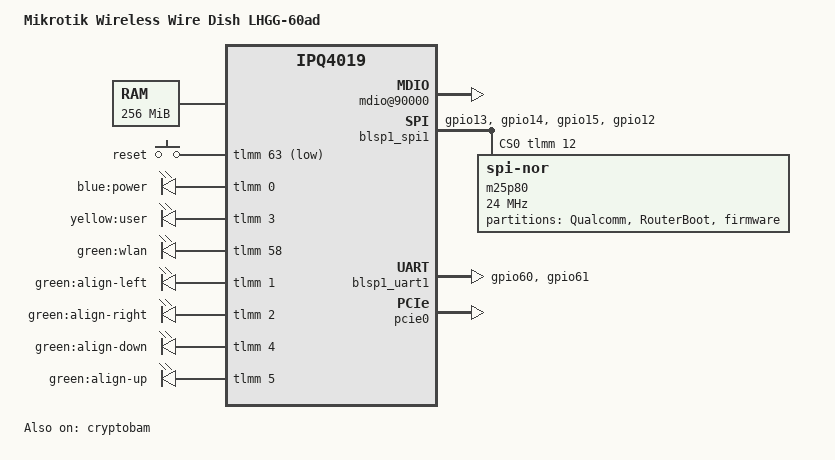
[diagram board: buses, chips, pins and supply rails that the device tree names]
/* Copyright (c) 2015, The Linux Foundation. All rights reserved.
 * Copyright (c) 2019, Robert Marko <robimarko@gmail.com>
 *
 * Permission to use, copy, modify, and/or distribute this software for any
 * purpose with or without fee is hereby granted, provided that the above
 * copyright notice and this permission notice appear in all copies.
 *
 * THE SOFTWARE IS PROVIDED "AS IS" AND THE AUTHOR DISCLAIMS ALL WARRANTIES
 * WITH REGARD TO THIS SOFTWARE INCLUDING ALL IMPLIED WARRANTIES OF
 * MERCHANTABILITY AND FITNESS. IN NO EVENT SHALL THE AUTHOR BE LIABLE FOR
 * ANY SPECIAL, DIRECT, INDIRECT, OR CONSEQUENTIAL DAMAGES OR ANY DAMAGES
 * WHATSOEVER RESULTING FROM LOSS OF USE, DATA OR PROFITS, WHETHER IN AN
 * ACTION OF CONTRACT, NEGLIGENCE OR OTHER TORTIOUS ACTION, ARISING OUT OF
 * OR IN CONNECTION WITH THE USE OR PERFORMANCE OF THIS SOFTWARE.
 *
 */

#include "qcom-ipq4019.dtsi"
#include <dt-bindings/gpio/gpio.h>
#include <dt-bindings/input/input.h>
#include <dt-bindings/soc/qcom,tcsr.h>

/ {
	model = "Mikrotik Wireless Wire Dish LHGG-60ad";
	compatible = "mikrotik,lhgg-60ad";

	memory {
		device_type = "memory";
		reg = <0x80000000 0x10000000>;
	};

	chosen {
		stdout-path = "serial0:115200n8";
	};

	aliases {
		led-boot = &user;
		led-failsafe = &user;
		led-running = &user;
		led-upgrade = &user;
	};

	soc {
		rng@22000 {
			status = "okay";
		};

		mdio@90000 {
			status = "okay";

			/delete-node/ ethernet-phy@1;
			/delete-node/ ethernet-phy@2;
			/delete-node/ ethernet-phy@3;
			/delete-node/ ethernet-phy@4;
			/delete-node/ psgmii-phy@5;
		};

		counter@4a1000 {
			compatible = "qcom,qca-gcnt";
			reg = <0x4a1000 0x4>;
		};

		tcsr@1949000 {
			compatible = "qcom,tcsr";
			reg = <0x1949000 0x100>;
			qcom,wifi_glb_cfg = <TCSR_WIFI_GLB_CFG>;
		};

		ess_tcsr@1953000 {
			compatible = "qcom,tcsr";
			reg = <0x1953000 0x1000>;
			qcom,ess-interface-select = <TCSR_ESS_PSGMII_RGMII5>;
		};

		tcsr@1957000 {
			compatible = "qcom,tcsr";
			reg = <0x1957000 0x100>;
			qcom,wifi_noc_memtype_m0_m2 = <TCSR_WIFI_NOC_MEMTYPE_M0_M2>;
		};

		crypto@8e3a000 {
			status = "okay";
		};

		watchdog@b017000 {
			status = "okay";
		};

		ess-switch@c000000 {
			switch_mac_mode = <0x3>; /* mac mode for RGMII RMII */
			switch_lan_bmp = <0x0>; /* lan port bitmap */
			switch_wan_bmp = <0x10>; /* wan port bitmap */
		};

		edma@c080000 {
			status = "okay";
			phy-mode = "rgmii-id";
			qcom,num_gmac = <1>;
			qcom,single-phy;
		};
	};

	keys {
		compatible = "gpio-keys";

		reset {
			label = "reset";
			gpios = <&tlmm 63 GPIO_ACTIVE_LOW>;
			linux,code = <KEY_RESTART>;
		};
	};

	leds {
		compatible = "gpio-leds";

		power: power {
			label = "blue:power";
			gpios = <&tlmm 0 GPIO_ACTIVE_HIGH>;
			default-state = "keep";
			panic-indicator;
		};

		user: user {
			label = "yellow:user";
			gpios = <&tlmm 3 GPIO_ACTIVE_HIGH>;
		};

		wlan {
			label = "green:wlan";
			gpios = <&tlmm 58 GPIO_ACTIVE_HIGH>;
		};

		align-left {
			label = "green:align-left";
			gpios = <&tlmm 1 GPIO_ACTIVE_HIGH>;
		};

		align-right {
			label = "green:align-right";
			gpios = <&tlmm 2 GPIO_ACTIVE_HIGH>;
		};

		wlan-rx {
			label = "green:align-down";
			gpios = <&tlmm 4 GPIO_ACTIVE_HIGH>;
		};

		wlan-tx {
			label = "green:align-up";
			gpios = <&tlmm 5 GPIO_ACTIVE_HIGH>;
		};
	};
};

&tlmm {
	serial_pins: serial_pinmux {
		mux {
			pins = "gpio60", "gpio61";
			function = "blsp_uart0";
			bias-disable;
		};
	};

	spi_0_pins: spi-0-pinmux {
		pinmux {
			function = "blsp_spi0";
			pins = "gpio13", "gpio14", "gpio15";
			bias-disable;
		};

		pinmux_cs {
			function = "gpio";
			pins = "gpio12";
			bias-disable;
			output-high;
		};
	};
};

&blsp_dma {
	status = "okay";
};

&blsp1_spi1 {
	pinctrl-0 = <&spi_0_pins>;
	pinctrl-names = "default";
	cs-gpios = <&tlmm 12 GPIO_ACTIVE_HIGH>;
	status = "okay";

	m25p80@0 {
		reg = <0>;
		compatible = "jedec,spi-nor";
		spi-max-frequency = <24000000>;

		partitions {
			compatible = "fixed-partitions";
			#address-cells = <1>;
			#size-cells = <1>;

			partition@0 {
				label = "Qualcomm";
				reg = <0x0 0x80000>;
				read-only;
			};

			partition@80000 {
				compatible = "mikrotik,routerboot-partitions";
				#address-cells = <1>;
				#size-cells = <1>;
				label = "RouterBoot";
				reg = <0x80000 0x80000>;

				hard_config {
					read-only;
					size = <0x2000>;
				};

				dtb_config {
					read-only;
				};

				soft_config {
				};
			};

			partition@100000 {
				compatible = "mikrotik,minor";
				label = "firmware";
				reg = <0x100000 0xf00000>;
			};
		};
	};
};

&blsp1_uart1 {
	pinctrl-0 = <&serial_pins>;
	pinctrl-names = "default";
	status = "okay";
};

&cryptobam {
	status = "okay";
};

&pcie0 {
	status = "okay";
	perst-gpio = <&tlmm 42 GPIO_ACTIVE_HIGH>;

	bridge@0,0 {
		reg = <0x00000000 0 0 0 0>;
		#address-cells = <3>;
		#size-cells = <2>;
		ranges;

		/* wil6210 802.11ad card */
		wifi: wifi@1,0 {
			status = "okay";
			/* wil6210 driver has no compatible */
			reg = <0x00010000 0 0 0 0>;
		};
	};
};

&gmac0 {
	qcom,phy_mdio_addr = <0>;
	qcom,poll_required = <1>;
	vlan_tag = <0 0x20>;
};
